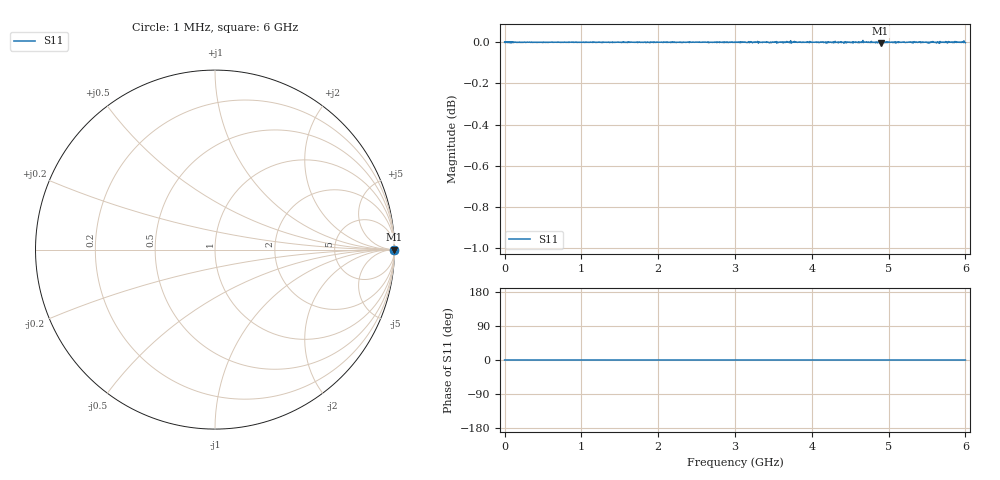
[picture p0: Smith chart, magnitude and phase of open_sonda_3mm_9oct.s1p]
! COPPER MOUNTAIN TECHNOLOGIES, R60, 23103002, 24.3.3/3.0
! Date: 9/10/2026 11:32:57
! Data: Format [Calibration Info]
! Frequency		S11: Mag/Ang RO
# HZ S MA R 50
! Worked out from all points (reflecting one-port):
!   1280 points, 1 MHz to 6 GHz, reference 50 ohm
!   lowest |S11| = 0.0 dB at 4.895 GHz (marker M1)
!   phase of S11 starts at -0 deg and turns -0 deg over the sweep
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1000000  1 -0.0
7.55e8  1 0.0
1.505e9  1 -0.0
2.255e9  1 -0.0
3.005e9  1 -0.0
3.395e9  1 -0.0
3.455e9  0.9999 -0.0
3.51e9  1 -0.0
3.695e9  1 -0.0
3.725e9  1.001 -0.0
3.755e9  1 -0.0
3.87e9  1 -0.0
4.08e9  1 -0.0
4.275e9  0.9998 -0.0
4.425e9  0.9998 -0.1
4.505e9  0.9999 -0.0
4.62e9  0.9999 -0.0
4.685e9  1 -0.0
4.895e9  0.9995 -0.0
5.255e9  1 -0.0
5.52e9  1 -0.0
5.585e9  1 -0.0
5.635e9  1 -0.0
5.77e9  0.9999 -0.0
5.825e9  1 -0.0
5.89e9  1 -0.0
5.96e9  1 -0.0
6e9  0.9998 -0.0
